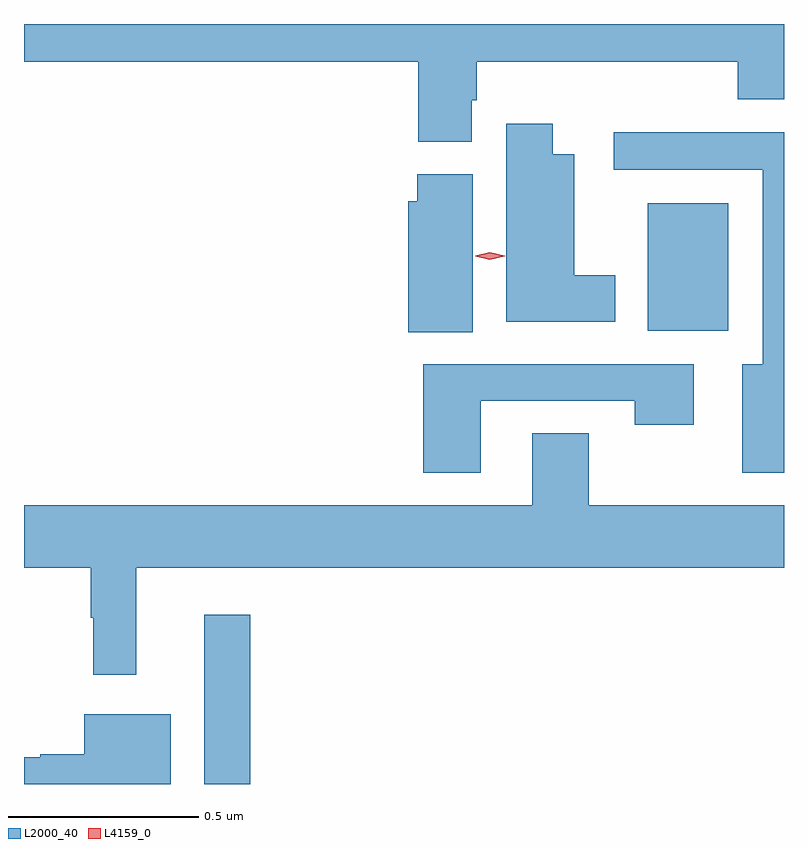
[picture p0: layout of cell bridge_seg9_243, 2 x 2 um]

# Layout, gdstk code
import gdstk
lib = gdstk.Library(unit=1e-6, precision=1e-09)
def R(c, l, rs):  # rectangles x0, y0, x1, y1
    for r in rs: c.add(gdstk.rectangle(r[:2], r[2:], *l))
def P(c, l, *ps):  # polygons
    for p in ps: c.add(gdstk.Polygon(p, *l))
L2000_40 = (2000, 40)
L4159_0 = (4159, 0)

bridge_seg9_243 = lib.new_cell('bridge_seg9_243')
R(bridge_seg9_243, L2000_40, [(254.477,1194.519,254.599,1194.964), (255.644,1195.712,255.856,1196.047)])
P(bridge_seg9_243, L2000_40, [(255.181,1196.319),(255.194,1196.319),(255.194,1196.42),(255.881,1196.42),(255.881,1196.321),(256.003,1196.321),(256.003,1196.519),(254.003,1196.519),(254.003,1196.42),(255.041,1196.42),(255.041,1196.209),(255.181,1196.209)],
  [(255.559,1195.858),(255.451,1195.858),(255.451,1196.176),(255.394,1196.176),(255.394,1196.257),(255.272,1196.257),(255.272,1195.736),(255.559,1195.736)],
  [(256.003,1196.234),(255.555,1196.234),(255.555,1196.136),(255.947,1196.136),(255.947,1195.624),(255.893,1195.624),(255.893,1195.338),(256.003,1195.338)],
  [(255.184,1196.124),(255.038,1196.124),(255.038,1196.052),(255.014,1196.052),(255.014,1195.708),(255.184,1195.708)],
  [(255.205,1195.527),(255.61,1195.527),(255.61,1195.464),(255.766,1195.464),(255.766,1195.623),(255.053,1195.623),(255.053,1195.338),(255.205,1195.338)],
  [(254.299,1195.088),(256.003,1195.088),(256.003,1195.252),(255.489,1195.252),(255.489,1195.442),(255.341,1195.442),(255.341,1195.252),(254.003,1195.252),(254.003,1195.088),(254.178,1195.088),(254.178,1194.956),(254.185,1194.956),(254.185,1194.807),(254.299,1194.807)],
  [(254.389,1194.703),(254.162,1194.703),(254.162,1194.597),(254.046,1194.597),(254.046,1194.59),(254.003,1194.59),(254.003,1194.519),(254.389,1194.519)])
P(bridge_seg9_243, L4159_0, [(255.229,1195.899),(255.19,1195.908),(255.19,1195.909),(255.19,1195.909),(255.229,1195.919),(255.268,1195.909),(255.268,1195.909),(255.268,1195.908)])

lib.write_gds('bridge_seg9_243.gds')
